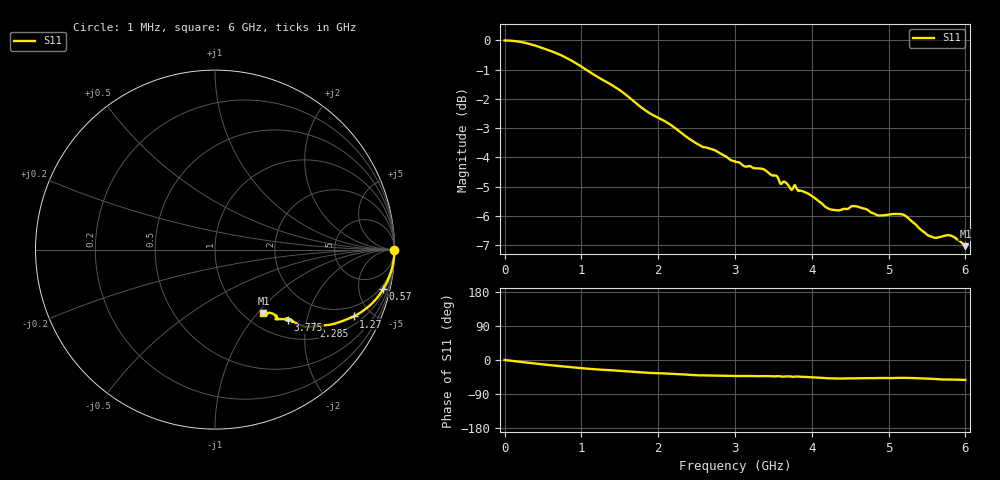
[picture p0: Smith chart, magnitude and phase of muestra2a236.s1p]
! COPPER MOUNTAIN TECHNOLOGIES, R60, 23103002, 24.3.3/3.0
! Date: 23/10/2026 12:39:45
! Data: Format [Calibration Info]
! Frequency		S11: Re/Im RO
# HZ S RI R 50
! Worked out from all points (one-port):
!   1280 points, 1 MHz to 6 GHz, reference 50 ohm
!   lowest |S11| = -7.0 dB at 6 GHz (marker M1), VSWR 2.60, Z = 60.9 - j53.8 ohm
!   |S11| at or under -10 dB: nowhere
!   S11 on the Smith chart (normalised r, x): 1 MHz: open; 570 MHz: 1.41, -8.45; 1.27 GHz: 1.39, -3.91; 2.285 GHz: 1.34, -2.23; 3.775 GHz: 1.34, -1.55; 6 GHz: 1.22, -1.08
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1000000  1 -0.000541
2.6e8  0.9855 -0.1075
5.7e8  0.9375 -0.2189
7.55e8  0.901 -0.2717
1.035e9  0.8301 -0.3377
1.27e9  0.7725 -0.3722
1.505e9  0.7208 -0.394
1.83e9  0.634 -0.4197
2.255e9  0.5587 -0.4265
2.285e9  0.5517 -0.4275
2.54e9  0.503 -0.4307
2.76e9  0.4885 -0.4239
3.005e9  0.4585 -0.4172
3.395e9  0.4424 -0.4055
3.71e9  0.4092 -0.3845
3.755e9  0.3983 -0.3916
3.775e9  0.4062 -0.3935
3.96e9  0.3857 -0.3872
4.225e9  0.3422 -0.3853
4.365e9  0.3369 -0.3864
4.505e9  0.3449 -0.3883
4.595e9  0.3488 -0.3857
4.865e9  0.3394 -0.3703
5.16e9  0.3438 -0.37
5.255e9  0.3372 -0.3652
5.525e9  0.3022 -0.3516
5.78e9  0.2885 -0.3643
6e9  0.27 -0.3538
